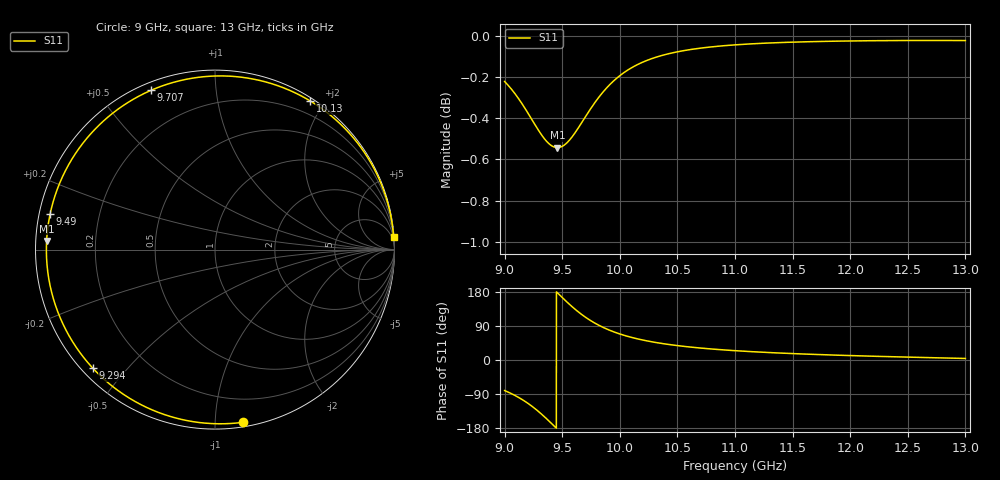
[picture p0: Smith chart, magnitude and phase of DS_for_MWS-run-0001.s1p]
! TOUCHSTONE file generated by CST DESIGN STUDIO
! Date and time: Tue Feb  4 18:07:07 2025
! Project name: C:\Work\MatlabApps\UnitCellOptimizationMatlab\CST\unitcell.cst
! Tree item: Tasks\Sweep1\SPara1\S-Parameters
! Header version: 2024
! Port assignment regex: !\s*Touchstone port\s*([0-9]+)\s*=\s*(CST MWS port|CST DES external port|CST DES block port)\s*(.+)\s* \(\"(.*)\"\)(\s*mode\s*([0-9]+))?.*
! Touchstone port assignment:
! Touchstone port 1 = CST DES external port 1 ("")
# GHz S MA R 50
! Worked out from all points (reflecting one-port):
!   4001 points, 9 GHz to 13 GHz, reference 50 ohm
!   lowest |S11| = -0.5 dB at 9.459 GHz (marker M1), VSWR 32.04, Z = 1.56 + j1.26 ohm
!   phase of S11 starts at -81 deg and turns -275 deg over the sweep
!   S11 on the Smith chart (normalised r, x): 9 GHz: 0.03, -1.18; 9.294 GHz: 0.03, -0.41; 9.49 GHz: 0.03, +0.11; 9.707 GHz: 0.03, +0.68; 10.13 GHz: 0.04, +1.83; 13 GHz: 1, +28
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9  0.9749 -80.7
9.091  0.9682 -93.7
9.165  0.9615 -106.8
9.231  0.9549 -120.6
9.294  0.9486 -135.9
9.337  0.9448 -147.3
9.383  0.9416 -160.3
9.422  0.94 -171.8
9.459  0.9395 177.1
9.49  0.9399 167.9
9.5  0.9401 164.9
9.549  0.9425 150.8
9.605  0.9467 135.7
9.655  0.9513 123.3
9.707  0.9564 111.9
9.764  0.9617 100.8
9.829  0.9672 90.0
9.912  0.9731 78.5
10  0.9781 68.7
10.131  0.9834 57.4
10.297  0.9879 47.0
10.5  0.9912 38.0
10.723  0.9934 30.9
11  0.9951 24.6
11.5  0.9966 16.9
12  0.9973 11.7
12.5  0.9975 7.6
13  0.9975 4.1
